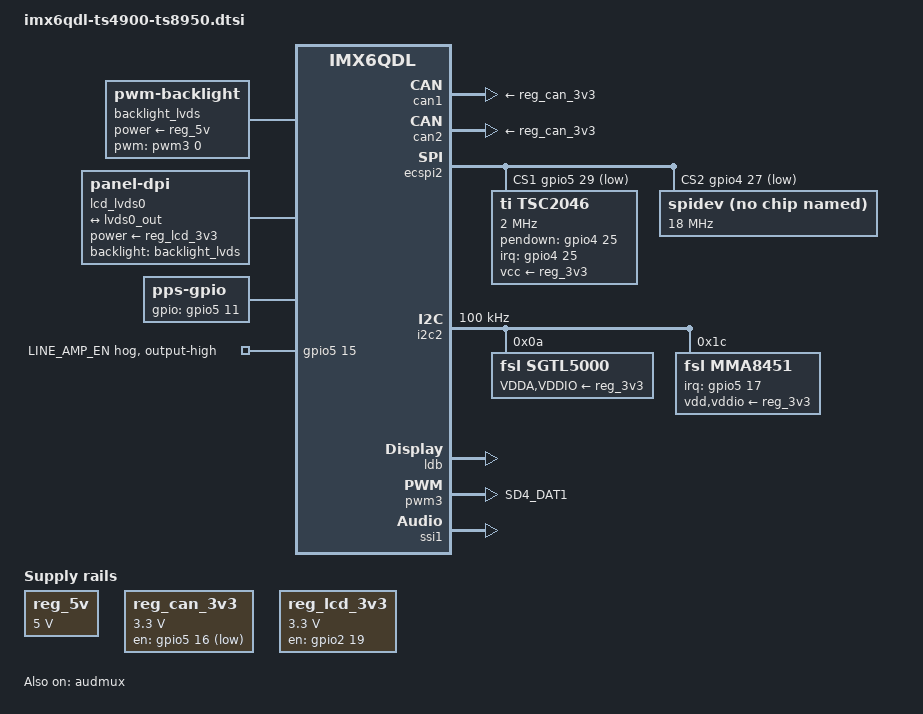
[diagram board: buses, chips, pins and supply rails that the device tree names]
// SPDX-License-Identifier: GPL-2.0 OR X11
/*
 * Copyright 2018-2022 Technologic Systems, Inc. dba embeddedTS
 */

#include <dt-bindings/interrupt-controller/irq.h>

/ {
	chosen {
		stdout-path = &uart1;
	};

	aliases {
		ethernet0 = &fec;
	};

	backlight_lvds: backlight-lvds {
		compatible = "pwm-backlight";
		pwms = <&pwm3 0 500000 0>;
		/*
		 * Backlight doesn't register anything until about half of max
		 * brightness. So start the first real step at something that
		 * makes the display visible. From there, make each step
		 * meaningful along the scale.
		 */
		brightness-levels = < 0 48 49 50 51 52 53 54 55 56
				     57 58 59 60 61 62 63 64 65 66
				     67 68 69 70 71 72 73 74 75 76
				     77 78 78 80 81 82 83 84 85 86
				     87 88 89 90 91 92 93 94 95 96
				     97 98 99 100>;
		default-brightness-level = <53>;

		power-supply = <&reg_5v>;
	};

	lcd_lvds0: disp0 {
		compatible = "panel-dpi";
		backlight = <&backlight_lvds>;
		power-supply = <&reg_lcd_3v3>;

		panel-timing {
			clock-frequency = <40000000>;
			hactive = <800>;
			vactive = <600>;
			hback-porch = <46>;
			hfront-porch = <210>;
			vback-porch = <23>;
			vfront-porch = <12>;
			hsync-len = <20>;
			vsync-len = <10>;
			de-active = <1>;
			hsync-active = <1>;
			vsync-active = <1>;
			pixelclk-active = <0>;
		};

		port {
			panel_in: endpoint {
				remote-endpoint = <&lvds0_out>;
			};
		};
	};

	pps {
		/* Part of Telit GPS radio */
		compatible = "pps-gpio";
		gpios = <&gpio5 11 GPIO_ACTIVE_HIGH>;
	};

	reg_5v: regulator-5v {
		compatible = "regulator-fixed";
		regulator-name = "5V";
		regulator-min-microvolt = <5000000>;
		regulator-max-microvolt = <5000000>;
		regulator-always-on;
	};

	reg_can_3v3: regulator-can-en {
		compatible = "regulator-fixed";
		regulator-name = "CAN_EN";
		regulator-min-microvolt = <3300000>;
		regulator-max-microvolt = <3300000>;
		gpio = <&gpio5 16 GPIO_ACTIVE_HIGH>;
	};

	reg_lcd_3v3: regulator-lcd {
		/* pinctrl_lcd_gpio hog already sets up the GPIO for this reg */
		compatible = "regulator-fixed";
		regulator-name = "LCD_3V3";
		regulator-min-microvolt = <3300000>;
		regulator-max-microvolt = <3300000>;
		gpio = <&gpio2 19 GPIO_ACTIVE_HIGH>;
		enable-active-high;
		regulator-boot-on;
		startup-delay-us = <60000>;
	};

	sound {
		compatible = "fsl,imx-audio-sgtl5000";
		audio-codec = <&sgtl5000>;
		audio-routing =
			"MIC_IN", "Mic Jack",
			"Mic Jack", "Mic Bias",
			"Headphone Jack", "HP_OUT";
		model = "On-board Codec";
		/* These describe the connection of SSI source (int) to audio out (ext) */
		mux-int-port = <1>;
		mux-ext-port = <3>;
		ssi-controller = <&ssi1>;
	};
};

&audmux {
	status = "okay";
};

&can1 {
	xceiver-supply = <&reg_can_3v3>;
};

&can2 {
	xceiver-supply = <&reg_can_3v3>;
};

&ecspi2 {
	num-cs = <3>;
	cs-gpios = <
		&gpio6 2 GPIO_ACTIVE_LOW
		&gpio5 29 GPIO_ACTIVE_LOW
		&gpio4 27 GPIO_ACTIVE_LOW
	>;
	pinctrl-names = "default";
	pinctrl-0 = <&pinctrl_ecspi2>;
	status = "okay";

	tsc2046: touchscreen@1 {
		reg = <1>;
		compatible = "ti,tsc2046";
		interrupt-parent = <&gpio4>;
		interrupts = <25 IRQ_TYPE_EDGE_FALLING>;
		spi-max-frequency = <2000000>;
		pendown-gpio = <&gpio4 25 GPIO_ACTIVE_HIGH>;
		vcc-supply = <&reg_3v3>;
		ti,swap-xy;
		ti,keep-vref-on;
		ti,vref-mv = <3300>;
		ti,settle-delay-usec = /bits/ 16 <500>;
		ti,x-plate-ohms = /bits/ 16 <715>;
		ti,pressure-max = /bits/ 16 <65535>;
		ti,debounce-rep = /bits/ 16 <1>;
		ti,debounce-tol = /bits/ 16 <30>;
		ti,debounce-max = /bits/ 16 <255>;
		ti,pendown-gpio-debounce = <5000>;
		wakeup-source;
	};

	spidev: spi@2 {
		compatible = "spidev";
		reg = <2>;
		spi-max-frequency = <18000000>;
	};
};

/*
 * This platform uses a different pin for USB 5 V control than other
 * combinations and what the TS-4900 dts expects. Because of that,
 * need to adjust pin names for sanity.
 */

&gpio2 {
	gpio-line-names = "", "", "", "", "", "", "", "", "", "", "", "", "",
		"", "", "", "IRQ7", "", "XBEE_CTS", "", "", "OFF_BD_RESET",
		"", "", "", "", "", "", "", "", "", "";
};

&gpio4 {
	gpio-line-names = "", "", "", "", "", "", "", "", "", "", "", "", "",
		"", "", "", "PUSH_SW_1#", "", "PCIE_SEL#", "", "ETH_PHY_RESET",
		"", "EN_USB_5V", "", "EN_GPS_3.3V#", "TOUCH_WAKE#", "", "",
		"PWR_FAIL#", "", "DIO_7", "DIO_8";
};

&gpio5 {
	gpio-line-names = "", "", "", "", "IRQ5", "DIO_9", "DIO_10", "DIO_11",
		"DIO_12", "IRQ9", "PUSH_SW_2#", "GPS_PPS", "", "USER_JMP_1#",
		"", "", "", "", "", "", "", "", "", "", "", "", "", "", "", "",
		"", "";

	en-line-amp-hog {
		gpio-hog;
		gpios = <15 GPIO_ACTIVE_HIGH>;
		line-name = "LINE_AMP_EN";
		output-high;
	};
};

&gpio6 {
	gpio-line-names = "", "", "", "", "", "", "IRQ6", "", "", "", "", "",
		"", "", "", "", "", "", "", "", "", "", "", "", "", "", "", "",
		"", "", "", "";
};

&i2c2 {
	status = "okay";
	clock-frequency = <100000>;
	pinctrl-names = "default";
	pinctrl-0 = <&pinctrl_i2c2>;

	sgtl5000: audio-codec@a {
		compatible = "fsl,sgtl5000";
		pinctrl-names = "default";
		pinctrl-0 = <&pinctrl_sgtl5000>;
		reg = <0x0a>;
		clocks = <&clks IMX6QDL_CLK_CKO>;
		VDDA-supply = <&reg_3v3>;
		VDDIO-supply = <&reg_3v3>;
	};

	mma8451: accelerometer@1c {
		compatible = "fsl,mma8451";
		reg = <0x1c>;
		vdd-supply = <&reg_3v3>;
		vddio-supply = <&reg_3v3>;
		interrupt-parent = <&gpio5>;
		interrupts = <17 IRQ_TYPE_LEVEL_LOW>;
		interrupt-names = "INT1";
		/* INT2 connected to spare pins, otherwise unused */
	};
};

&iomuxc {
	pinctrl-names = "default";
	pinctrl-0 = <&pinctrl_hog &pinctrl_lcd_gpio>;

	pinctrl_ecspi2_touch: ecspi2 {
		fsl,pins = <
			MX6QDL_PAD_CSI0_DAT8__ECSPI2_SCLK	0x100b1
			MX6QDL_PAD_CSI0_DAT9__ECSPI2_MOSI	0x100b1
			MX6QDL_PAD_CSI0_DAT10__ECSPI2_MISO	0x100b1
			MX6QDL_PAD_CSI0_DAT11__GPIO5_IO29	0x100b1 // Offboard CS0#
			MX6QDL_PAD_CSI0_DAT16__GPIO6_IO02	0x100b1 // FPGA CS1#
			MX6QDL_PAD_CSI0_VSYNC__GPIO5_IO21	0x1b088 // FPGA_RESET#
			MX6QDL_PAD_CSI0_DATA_EN__GPIO5_IO20	0x1b088 // FPGA_DONE
			MX6QDL_PAD_GPIO_3__XTALOSC_REF_CLK_24M	0x10    // FPGA 24MHZ
			MX6QDL_PAD_GPIO_4__GPIO1_IO04		0x1b088 // FPGA_IRQ
			MX6QDL_PAD_DISP0_DAT4__GPIO4_IO25	0x1b088 // TOUCH_WAKE#
		>;
	};

	pinctrl_pwm3: pwm3grp {
		fsl,pins = <
			MX6QDL_PAD_SD4_DAT1__PWM3_OUT		0x1b088
		>;
	};

	pinctrl_lcd3v3: lcdreggrp {
		fsl,pins = <
			MX6QDL_PAD_EIM_A19__GPIO2_IO19		0x1b088 // EN_LCD_3.3V
		>;
	};

	pinctrl_sgtl5000: sgtl5000grp {
		fsl,pins = <
			MX6QDL_PAD_CSI0_DAT7__AUD3_RXD		0x130b0
			MX6QDL_PAD_CSI0_DAT4__AUD3_TXC		0x130b0
			MX6QDL_PAD_CSI0_DAT5__AUD3_TXD		0x110b0
			MX6QDL_PAD_CSI0_DAT6__AUD3_TXFS		0x130b0
			MX6QDL_PAD_GPIO_0__CCM_CLKO1		0x130b0 // Audio CLK
		>;
	};

	pinctrl_eim: eim {
		fsl,pins = <
			MX6QDL_PAD_EIM_DA0__EIM_AD00		0x1b088 // MUX_AD_00
			MX6QDL_PAD_EIM_DA1__EIM_AD01		0x1b088 // MUX_AD_01
			MX6QDL_PAD_EIM_DA2__EIM_AD02		0x1b088 // MUX_AD_02
			MX6QDL_PAD_EIM_DA3__EIM_AD03		0x1b088 // MUX_AD_03
			MX6QDL_PAD_EIM_DA4__EIM_AD04		0x1b088 // MUX_AD_04
			MX6QDL_PAD_EIM_DA5__EIM_AD05		0x1b088 // MUX_AD_05
			MX6QDL_PAD_EIM_DA6__EIM_AD06		0x1b088 // MUX_AD_06
			MX6QDL_PAD_EIM_DA7__EIM_AD07		0x1b088 // MUX_AD_07
			MX6QDL_PAD_EIM_DA8__EIM_AD08		0x1b088 // MUX_AD_08
			MX6QDL_PAD_EIM_DA9__EIM_AD09		0x1b088 // MUX_AD_09
			MX6QDL_PAD_EIM_DA10__EIM_AD10		0x1b088 // MUX_AD_10
			MX6QDL_PAD_EIM_DA11__EIM_AD11		0x1b088 // MUX_AD_11
			MX6QDL_PAD_EIM_DA12__EIM_AD12		0x1b088 // MUX_AD_12
			MX6QDL_PAD_EIM_DA13__EIM_AD13		0x1b088 // MUX_AD_13
			MX6QDL_PAD_EIM_DA14__EIM_AD14		0x1b088 // MUX_AD_14
			MX6QDL_PAD_EIM_DA15__EIM_AD15		0x1b088 // MUX_AD_15
			MX6QDL_PAD_EIM_A16__EIM_ADDR16		0x1b088 // MX6_A16
			MX6QDL_PAD_EIM_LBA__EIM_LBA_B		0x1b088 // BUS_ALE#
			MX6QDL_PAD_EIM_RW__EIM_RW		0x1b088 // BUS_DIR
			MX6QDL_PAD_EIM_CS0__EIM_CS0_B		0x1b088 // BUS_CS#
			MX6QDL_PAD_EIM_WAIT__EIM_DTACK_B	0x1b088 // BUS_WAIT#
			MX6QDL_PAD_EIM_D31__GPIO3_IO31		0x1b088 // D31/GPIO
			MX6QDL_PAD_EIM_EB1__EIM_EB1_B		0x1b088 // BUS_BHE#
		>;
	};
};

&ldb {
	status = "okay";

	lvds-channel@0 {
		fsl,data-mapping = "spwg";
		fsl,data-width = <18>;

		status = "okay";

		port@4 {
			reg = <4>;

			lvds0_out: endpoint {
				remote-endpoint = <&panel_in>;
			};
		};
	};
};

&pwm3 {
	pinctrl-names = "default";
	pinctrl-0 = <&pinctrl_pwm3>;
	status = "okay";
};

&ssi1 {
	fsl,mode = "i2s-slave";
	status = "okay";
};
